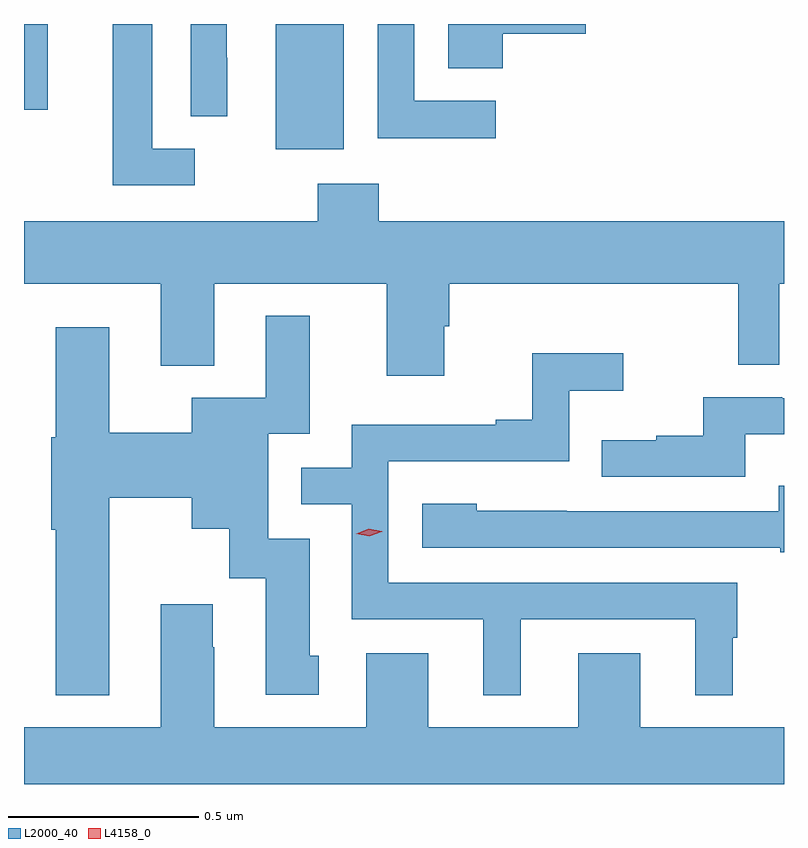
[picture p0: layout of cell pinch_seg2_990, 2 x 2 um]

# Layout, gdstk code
import gdstk
lib = gdstk.Library(unit=1e-6, precision=1e-09)
def R(c, l, rs):  # rectangles x0, y0, x1, y1
    for r in rs: c.add(gdstk.rectangle(r[:2], r[2:], *l))
def P(c, l, *ps):  # polygons
    for p in ps: c.add(gdstk.Polygon(p, *l))
L2000_40 = (2000, 40)
L4158_0 = (4158, 0)

pinch_seg2_990 = lib.new_cell('pinch_seg2_990')
R(pinch_seg2_990, L2000_40, [(358.04,651.986,358.219,652.315), (357.377,652.089,357.439,652.315)])
P(pinch_seg2_990, L2000_40, [(358.618,652.113),(358.404,652.113),(358.404,652.315),(358.308,652.315),(358.308,652.015),(358.618,652.015)],
  [(357.912,652.226),(357.911,652.226),(357.911,652.315),(357.816,652.315),(357.816,652.072),(357.912,652.072)],
  [(358.637,652.289),(358.855,652.289),(358.855,652.315),(358.493,652.315),(358.493,652.198),(358.637,652.198)],
  [(357.826,651.987),(357.715,651.987),(357.715,652.315),(357.611,652.315),(357.611,651.891),(357.826,651.891)],
  [(358.483,651.519),(358.496,651.519),(358.496,651.632),(359.256,651.632),(359.256,651.418),(359.364,651.418),(359.364,651.632),(359.377,651.632),(359.377,651.796),(358.31,651.796),(358.31,651.895),(358.15,651.895),(358.15,651.796),(357.377,651.796),(357.377,651.632),(357.737,651.632),(357.737,651.416),(357.877,651.416),(357.877,651.632),(358.331,651.632),(358.331,651.39),(358.483,651.39)],
  [(357.601,651.068),(357.818,651.068),(357.818,650.987),(357.917,650.987),(357.917,650.856),(358.013,650.856),(358.013,650.55),(358.153,650.55),(358.153,650.652),(358.129,650.652),(358.129,650.961),(358.02,650.961),(358.02,651.237),(358.129,651.237),(358.129,651.547),(358.013,651.547),(358.013,651.331),(357.818,651.331),(357.818,651.24),(357.601,651.24),(357.601,651.517),(357.461,651.517),(357.461,651.228),(357.449,651.228),(357.449,650.984),(357.461,650.984),(357.461,650.549),(357.601,650.549)],
  [(358.684,650.748),(359.144,650.748),(359.144,650.549),(359.242,650.549),(359.242,650.7),(359.254,650.7),(359.254,650.844),(358.335,650.844),(358.335,651.165),(358.812,651.165),(358.812,651.35),(358.954,651.35),(358.954,651.449),(358.714,651.449),(358.714,651.274),(358.619,651.274),(358.619,651.261),(358.239,651.261),(358.239,651.147),(358.106,651.147),(358.106,651.051),(358.239,651.051),(358.239,650.748),(358.586,650.748),(358.586,650.549),(358.684,650.549)],
  [(359.275,651.236),(359.377,651.236),(359.377,651.33),(359.372,651.33),(359.372,651.333),(359.165,651.333),(359.165,651.232),(359.041,651.232),(359.041,651.22),(358.897,651.22),(358.897,651.123),(359.275,651.123)],
  [(359.377,651.1),(359.363,651.1),(359.363,651.033),(358.805,651.033),(358.805,651.034),(358.569,651.034),(358.569,651.052),(358.425,651.052),(358.425,650.937),(359.367,650.937),(359.367,650.925),(359.377,650.925)],
  [(359.377,650.464),(358.999,650.464),(358.999,650.659),(358.835,650.659),(358.835,650.464),(358.441,650.464),(358.441,650.659),(358.277,650.659),(358.277,650.464),(357.877,650.464),(357.877,650.675),(357.874,650.675),(357.874,650.788),(357.737,650.788),(357.737,650.464),(357.377,650.464),(357.377,650.315),(359.377,650.315)])
P(pinch_seg2_990, L4158_0, [(358.286,650.967),(358.251,650.974),(358.251,650.974),(358.251,650.974),(358.284,650.987),(358.319,650.98),(358.32,650.979),(358.319,650.979)])

lib.write_gds('pinch_seg2_990.gds')
